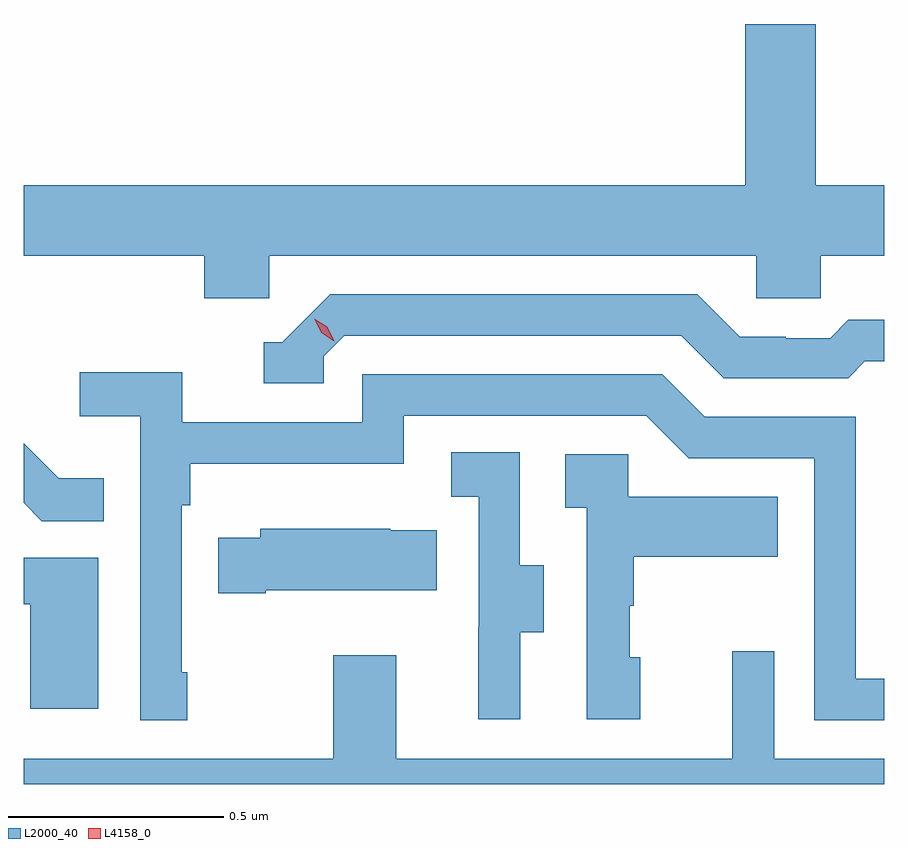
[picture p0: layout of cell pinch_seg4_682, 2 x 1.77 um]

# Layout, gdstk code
import gdstk
lib = gdstk.Library(unit=1e-6, precision=1e-09)
def P(c, l, *ps):  # polygons
    for p in ps: c.add(gdstk.Polygon(p, *l))
L2000_40 = (2000, 40)
L4158_0 = (4158, 0)

pinch_seg4_682 = lib.new_cell('pinch_seg4_682')
P(pinch_seg4_682, L2000_40, [(1122.942,759.524),(1124.073,759.524),(1124.073,759.426),(1124.223,759.426),(1124.223,759.524),(1124.371,759.524),(1124.371,759.688),(1124.212,759.688),(1124.212,760.063),(1124.048,760.063),(1124.048,759.688),(1122.371,759.688),(1122.371,759.524),(1122.791,759.524),(1122.791,759.426),(1122.942,759.426)],
  [(1123.068,759.291),(1123.116,759.339),(1123.899,759.339),(1123.998,759.24),(1124.287,759.24),(1124.326,759.279),(1124.371,759.279),(1124.371,759.376),(1124.287,759.376),(1124.245,759.333),(1124.142,759.333),(1124.142,759.336),(1124.035,759.336),(1123.936,759.435),(1123.083,759.435),(1122.972,759.324),(1122.929,759.324),(1122.929,759.228),(1123.068,759.228)],
  [(1122.751,758.557),(1122.738,758.557),(1122.738,758.945),(1122.758,758.945),(1122.758,759.041),(1123.254,759.041),(1123.254,759.153),(1123.818,759.153),(1123.917,759.054),(1124.208,759.054),(1124.208,758.445),(1124.371,758.445),(1124.371,758.541),(1124.304,758.541),(1124.304,759.15),(1123.954,759.15),(1123.855,759.249),(1123.158,759.249),(1123.158,759.138),(1122.74,759.138),(1122.74,759.254),(1122.501,759.254),(1122.501,759.152),(1122.642,759.152),(1122.642,758.445),(1122.751,758.445)],
  [(1122.557,759.007),(1122.453,759.007),(1122.371,759.089),(1122.371,758.95),(1122.413,758.908),(1122.557,758.908)],
  [(1123.525,758.65),(1123.579,758.65),(1123.579,758.805),(1123.524,758.805),(1123.524,759.068),(1123.365,759.068),(1123.365,758.965),(1123.428,758.965),(1123.428,758.661),(1123.427,758.661),(1123.427,758.448),(1123.525,758.448)],
  [(1123.804,758.592),(1123.779,758.592),(1123.779,758.711),(1123.789,758.711),(1123.789,758.825),(1124.123,758.825),(1124.123,758.965),(1123.776,758.965),(1123.776,759.063),(1123.629,759.063),(1123.629,758.939),(1123.68,758.939),(1123.68,758.448),(1123.804,758.448)],
  [(1122.934,758.747),(1123.331,758.747),(1123.331,758.887),(1123.223,758.887),(1123.223,758.89),(1122.921,758.89),(1122.921,758.869),(1122.823,758.869),(1122.823,758.74),(1122.934,758.74)],
  [(1122.544,758.823),(1122.371,758.823),(1122.371,758.715),(1122.386,758.715),(1122.386,758.472),(1122.544,758.472)],
  [(1124.371,758.356),(1124.115,758.356),(1124.115,758.605),(1124.018,758.605),(1124.018,758.356),(1123.237,758.356),(1123.237,758.596),(1123.09,758.596),(1123.09,758.356),(1122.371,758.356),(1122.371,758.297),(1124.371,758.297)])
P(pinch_seg4_682, L4158_0, [(1123.093,759.326),(1123.062,759.345),(1123.046,759.378),(1123.046,759.378),(1123.046,759.378),(1123.077,759.359),(1123.093,759.326),(1123.093,759.326)])

lib.write_gds('pinch_seg4_682.gds')
